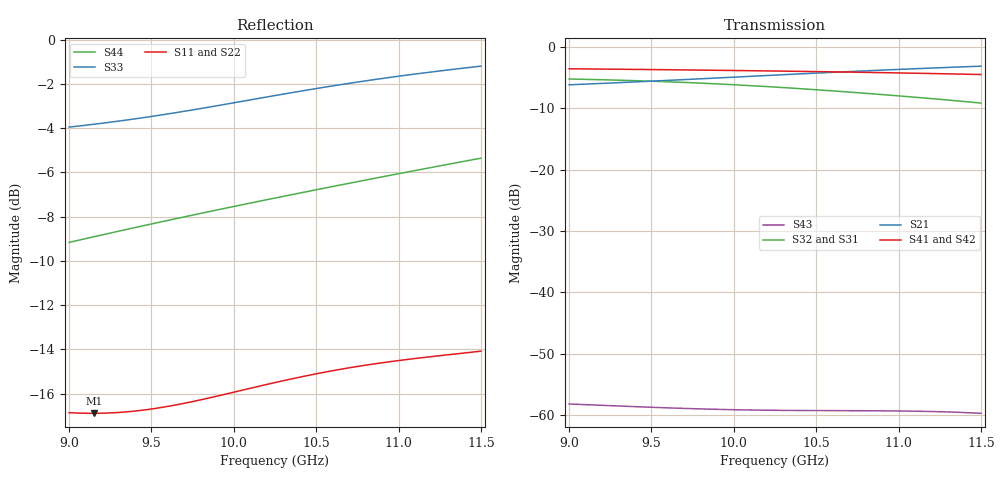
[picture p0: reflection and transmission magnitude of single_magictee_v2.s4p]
! Touchstone file exported from HFSS 2025.2.4
!  File:  C:/Users/chaoy/Documents/single_magictee_v2_stageA/g2_5p80mm_lt_6p00mm/single_magictee_v2.aedt
!  Generated:  03:05:23 PM Sep 19, 2026
!  Design:  SingleMagicT_v2
!  Project:  single_magictee_v2
! Variables:
!  f_adapt = 10.2GHz
!  ridge_g1 = 7.672mm
!  ridge_g2 = 5.8mm
!  ridge_l1 = 9.872mm
!  ridge_l2 = 8.857mm
!  ridge_w = 4.572mm
!  terminal_ridge_len = 6mm
!  wg_a = 22.86mm
!  wg_b = 10.16mm
!Data is not renormalized
# GHz S MA
! Terminal data exported
! Port[1] = P1_CollinearMinusX
! Port[2] = P2_CollinearPlusX
! Port[3] = P3_HArm_Ridged
! Port[4] = P4_EArm
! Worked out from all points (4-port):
!   101 points, 9 GHz to 11.5 GHz, reference per port
!   strongest paths, dB at 9 GHz, 9.625 GHz, 10.25 GHz, 10.88 GHz, 11.5 GHz:
!     S41: -3.6, -3.7, -3.9, -4.2, -4.5
!     S42: -3.6, -3.7, -3.9, -4.2, -4.5
!     S21: -6.2, -5.4, -4.6, -3.8, -3.1
!     S32: -5.2, -5.7, -6.5, -7.7, -9.2
!     S31: -5.3, -5.7, -6.6, -7.7, -9.2
!     S43: -58.2, -58.8, -59.2, -59.3, -59.7
!   lowest |S11| = -16.9 dB at 9.15 GHz (marker M1), VSWR 1.33
!   |S11| at or under -10 dB: start of sweep to end of sweep
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9  0.1435 -163.5  0.491 -161.6  0.5463 111.9  0.6633 45.0
   0.491 -161.6  0.1427 -163.7  0.5474 111.9  0.6625 -135.0
   0.5463 111.9  0.5474 111.9  0.634 -154.1  0.001231 128.1
   0.6633 45.0  0.6625 -135.0  0.001231 128.1  0.348 -109.1
9.15  0.143 -176.7  0.5009 -178.6  0.5407 93.2  0.6605 27.7
      0.5009 -178.6  0.1423 -176.9  0.5418 93.2  0.6597 -152.3
      0.5407 93.2  0.5418 93.2  0.6435 -175.5  0.001208 109.1
      0.6605 27.7  0.6597 -152.3  0.001208 109.1  0.3584 -125.3
9.45  0.1454 157.5  0.5222 148.4  0.5269 56.1  0.6546 -6.2
      0.5222 148.4  0.1449 157.3  0.5281 56.1  0.6538 173.8
      0.5269 56.1  0.5281 56.1  0.6659 141.8  0.001164 72.2
      0.6546 -6.2  0.6538 173.8  0.001164 72.2  0.3795 -157.4
9.85  0.1549 122.3  0.554 105.3  0.5019 7.2  0.6459 -50.2
      0.554 105.3  0.1547 122.2  0.5031 7.2  0.645 129.8
      0.5019 7.2  0.5031 7.2  0.7036 85.4  0.001118 24.8
      0.6459 -50.2  0.645 129.8  0.001118 24.8  0.4084 160.6
10.5  0.1756 61.3  0.6115 36.8  0.4465 -70.4  0.6291 -119.4
      0.6115 36.8  0.1756 61.3  0.4477 -70.3  0.6283 60.6
      0.4465 -70.4  0.4477 -70.3  0.7747 -2.9  0.001088 -50.6
      0.6291 -119.4  0.6283 60.6  0.001088 -50.6  0.4576 93.6
11.05  0.1892 8.0  0.6597 -20.5  0.393 -134.5  0.612 -176.6
       0.6597 -20.5  0.189 8.0  0.394 -134.4  0.6114 3.4
       0.393 -134.5  0.394 -134.4  0.8308 -74.7  0.001078 -116.7
       0.612 -176.6  0.6114 3.4  0.001078 -116.7  0.5016 37.7
11.5  0.1976 -35.0  0.6966 -67.0  0.3476 173.0  0.5957 137.1
      0.6966 -67.0  0.1972 -35.1  0.3485 173.1  0.5953 -42.9
      0.3476 173.0  0.3485 173.1  0.8705 -133.8  0.001034 -174.9
      0.5957 137.1  0.5953 -42.9  0.001034 -174.9  0.5393 -7.6
